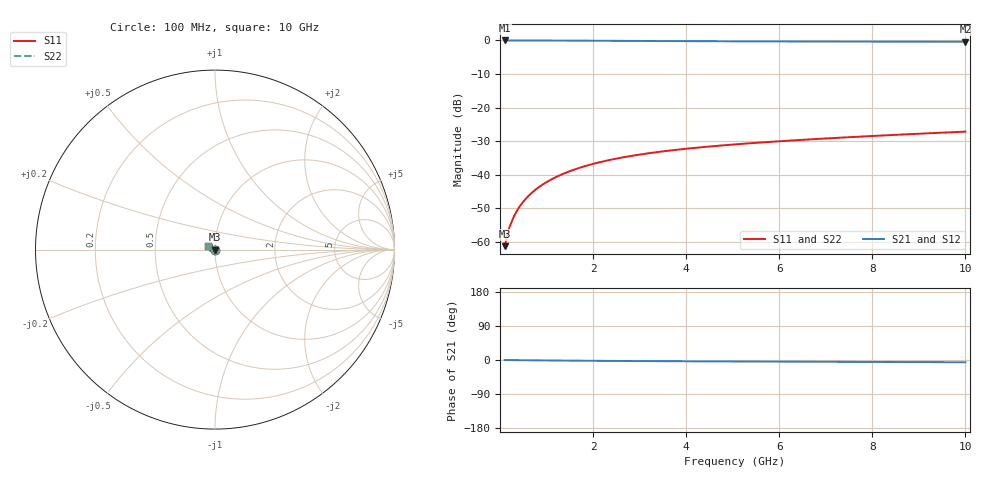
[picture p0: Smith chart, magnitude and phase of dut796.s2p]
! Touchstone file exported from HFSS 2024.1.0
!  File:  C:/UserFiles/LocalFiles/RDL_TSV_Batchsim/temp_TSV1_796_1779876063.aedt
!  Generated:  06:08:15 PM May 27, 2026
!  Design:  TSV1
!  Project:  temp_TSV1_796_1779876063
!  Setup:  Setup1
!  Solution:  Sweep
! Variables:
!  dtsv = 6.59um
!  hbump = 3um
!  htsv = 90.67um
!  lrdl = 252.1521522um
!  p = 40
!  p1 = 50.86um
!  t = 500um
!  trdl = 3um
!  wrdl = 24.89489489um
# GHz S MA R 50.000000
! Terminal data exported
! Port[1] = TSV22_T1
! Port[2] = TSV22_T2
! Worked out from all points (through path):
!   100 points, 100 MHz to 10 GHz, reference 50 ohm
!   highest |S21| = 0.00 dB at 100 MHz (marker M1); lowest = -0.4 dB at 10 GHz (marker M2)
!   lowest |S11| = -61.3 dB at 100 MHz (marker M3), VSWR 1.00, Z = 50 - j0.0792 ohm
!   |S11| at or under -10 dB: start of sweep to end of sweep
!   |S22| runs from -61.3 to -27.2 dB; largest |S21 - S12| = 6.5e-15
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0.1  0.0008567 -67.5  0.9996 -0.1  0.9996 -0.1  0.0008567 -67.5
! Gamma 0 0 0 0
! Port Impedance 50 0 50 0
0.2  0.001614 -81.4  0.9995 -0.2  0.9995 -0.2  0.001614 -81.4
0.3  0.00239 -87.7  0.9993 -0.4  0.9993 -0.4  0.00239 -87.7
0.4  0.003167 -91.9  0.9991 -0.5  0.9991 -0.5  0.003167 -91.9
0.5  0.003942 -95.3  0.9989 -0.6  0.9989 -0.6  0.003942 -95.3
0.6  0.004712 -98.3  0.9986 -0.7  0.9986 -0.7  0.004712 -98.3
0.7  0.005475 -100.9  0.9982 -0.8  0.9982 -0.8  0.005475 -100.9
0.8  0.006231 -103.5  0.9978 -0.9  0.9978 -0.9  0.006231 -103.5
0.9  0.006978 -105.9  0.9973 -1.0  0.9973 -1.0  0.006978 -105.9
1.1  0.008442 -110.4  0.9963 -1.3  0.9963 -1.3  0.008442 -110.4
1.4  0.01055 -116.8  0.9944 -1.6  0.9944 -1.6  0.01055 -116.8
1.6  0.0119 -120.8  0.9931 -1.7  0.9931 -1.7  0.0119 -120.8
1.8  0.01319 -124.7  0.9916 -1.9  0.9916 -1.9  0.01319 -124.7
2.1  0.01503 -130.3  0.9894 -2.2  0.9894 -2.2  0.01503 -130.3
2.5  0.0173 -137.3  0.9863 -2.5  0.9863 -2.5  0.0173 -137.3
2.9  0.01937 -143.8  0.9833 -2.8  0.9833 -2.8  0.01937 -143.8
3.4  0.02173 -151.3  0.9798 -3.1  0.9798 -3.1  0.02173 -151.3
4.2  0.02506 -161.9  0.9747 -3.5  0.9747 -3.5  0.02506 -161.9
5.1  0.02837 -172.2  0.9701 -3.9  0.9701 -3.9  0.02837 -172.2
6.7  0.03361 172.7  0.9639 -4.6  0.9639 -4.6  0.03361 172.7
8.4  0.03883 160.3  0.9596 -5.3  0.9596 -5.3  0.03883 160.3
10  0.04368 150.8  0.9566 -6.0  0.9566 -6.0  0.04368 150.8
